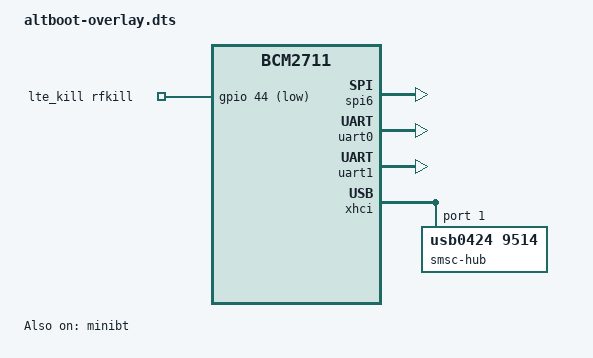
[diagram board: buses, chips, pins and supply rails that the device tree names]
/dts-v1/;
/plugin/;

/{
	compatible = "brcm,bcm2711";

	 
	fragment@51 {
		target = <&spi6_cs_pins>;
		__overlay__ {
			brcm,pins = <18>, <23>;
			brcm,function = <1>; // output input
			brcm,pull = <0>, <0>;
		};
	};

	fragment@52 {
		target = <&spi6>;
		__overlay__ {
			// needed to avoid dtc warning
			#address-cells = <1>;
			#size-cells = <0>;
			compatible = "brcm,bcm2835-spi";
			pinctrl-names = "default";
			pinctrl-0 = <&spi6_pins &spi6_cs_pins>;
			cs-gpios = <&gpio 18 1>, <&gpio 23 1>;
			dmas = <&dma 23>, <&dma 27>;
			dma-names = "tx", "rx";
			status = "okay";
		};
	};

	 	fragment@101 {
		target-path = "/aliases";
		__overlay__ {
			bluetooth = "/soc/serial@7e215040/bluetooth";
		};
	};

	fragment@102 {
		target = <&uart0>;
		__overlay__ {
			pinctrl-names = "default";
			pinctrl-0 = <&uart0_ovl_pins>, <&uart0_rts_ovl_pins>;
			status = "okay";
			linux,rs485-enabled-at-boot-time;
		};
	};

	fragment@103 {
		target = <&gpio>;
		__overlay__ {
			uart0_ovl_pins: uart0-ovl-pins {
				brcm,pins = <14 15>;
				brcm,function = <4>; /* alt0 */
				brcm,pull = <0 2>;
			};
			uart0_rts_ovl_pins: uart0-rts-ovl-pins {
				brcm,pins = <17>;
				brcm,function = <7>; /* alt3 */
				brcm,pull = <0>;
			};
		};
	};

	fragment@104 {
		target = <&bt>;
		__overlay__ {
			status = "disabled";
		};
	};

	fragment@105 {
		target = <&uart1>;
		__overlay__ {
			pinctrl-names = "default";
			pinctrl-0 = <&uart1_bt_pins>;
			status = "okay";
		};
	};

	fragment@108 {
		target = <&minibt>;
		__overlay__ {
			status = "okay";
		};
	};
	 
	fragment@400 {
		target = <&xhci>;
		__overlay__ {
			#address-cells = <1>;
			#size-cells = <0>;
			smsc-hub@1 {
				reg = <1>;
				compatible = "usb0424,9514";
				#address-cells = <1>;
				#size-cells = <0>;
				ethernet1:eth1@1 {
					reg = <1>;
					compatible = "usb0424,ec00";
				};
				mpcie:mpcie@2 {
					reg = <2>;
				};
			};
		};
	}; 

	fragment@401 {
		target-path = "/aliases";
		__overlay__ {
			// Must be defined absolutly - Tady je problem v ruznuch nazvech usb/xhci v DT mainline/rpi
			//ethernet1 = "/scb/usb@7e9c0000/smsc-hub@1/eth1@1";
			ethernet1 = "/scb/xhci@7e9c0000/smsc-hub@1/eth1@1";
		};
	};

	fragment@403 {
		target-path = "/";
		__overlay__ {
			lte_kill{
				compatible = "unipi,rfkill-level";
				type = "wwan";
				algo = "pulse";
				rfkill-gpio = <&gpio 44 1>;
				monitor-usb = <&mpcie>;
				pinctrl-names = "default";
				pinctrl-0 = <&pinctrl_lte_reset>;
			};
		};
	}; 

	fragment@404 {
		target = <&gpio>;
		__overlay__ {
			pinctrl_lte_reset: pinctrl-lte-reset {
				brcm,pins = <44>;
				brcm,function = <1>; // out
				brcm,pull = <0>; // off
			};
		};
	};
};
